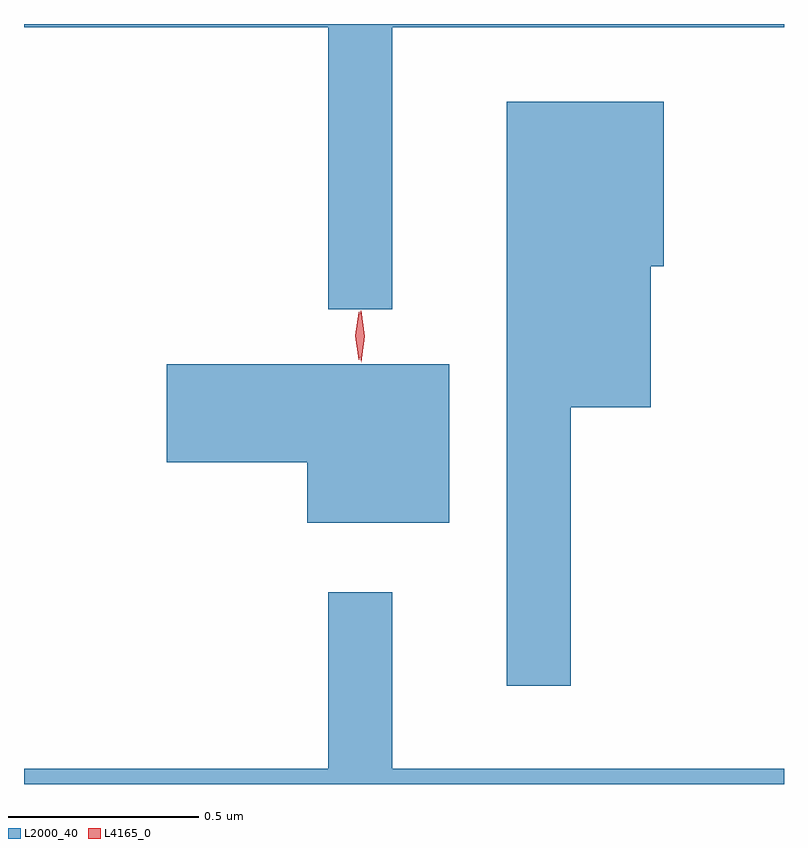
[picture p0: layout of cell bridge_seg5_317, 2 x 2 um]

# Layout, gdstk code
import gdstk
lib = gdstk.Library(unit=1e-6, precision=1e-09)
def P(c, l, *ps):  # polygons
    for p in ps: c.add(gdstk.Polygon(p, *l))
L2000_40 = (2000, 40)
L4165_0 = (4165, 0)

bridge_seg5_317 = lib.new_cell('bridge_seg5_317')
P(bridge_seg5_317, L2000_40, [(777.919,1496.756),(778.95,1496.756),(778.95,1496.764),(776.95,1496.764),(776.95,1496.756),(777.751,1496.756),(777.751,1496.013),(777.919,1496.013)],
  [(778.389,1495.756),(778.599,1495.756),(778.599,1496.126),(778.634,1496.126),(778.634,1496.559),(778.221,1496.559),(778.221,1495.023),(778.389,1495.023)],
  [(778.069,1495.869),(777.326,1495.869),(777.326,1495.611),(777.696,1495.611),(777.696,1495.451),(778.069,1495.451)],
  [(778.95,1494.804),(777.919,1494.804),(777.919,1495.268),(777.751,1495.268),(777.751,1494.804),(776.95,1494.804),(776.95,1494.764),(778.95,1494.764)])
P(bridge_seg5_317, L4165_0, [(777.831,1495.88),(777.822,1495.944),(777.831,1496.006),(777.832,1496.007),(777.832,1496.006),(777.842,1495.944),(777.832,1495.88),(777.832,1495.88)],
  [(777.837,1495.874),(777.837,1495.874),(777.827,1495.942),(777.836,1496.01),(777.837,1496.01),(777.837,1496.01),(777.847,1495.942),(777.838,1495.874)])

lib.write_gds('bridge_seg5_317.gds')
